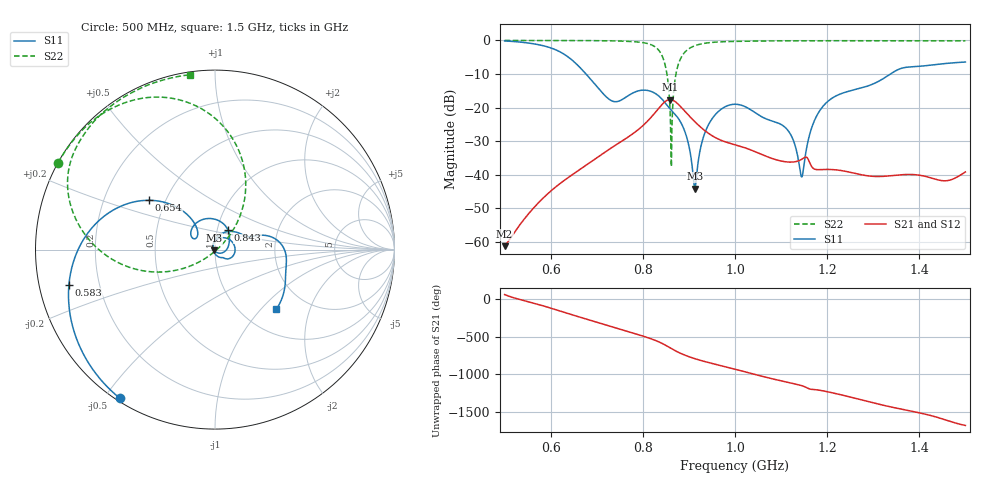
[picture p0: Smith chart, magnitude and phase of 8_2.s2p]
! TOUCHSTONE file generated by CST MICROWAVE STUDIO
! Date and time: Fri Oct  2 16:32:09 2020
! Project name: Scenario_1_Free_Space_out_of_line.cst
! Parameters = {Lambda=346.42; Step_1=17.321; dy1=226.253; dx1=346; L_HA=400; MT=2.54; Rad_Dielectric=30; Rad_Lower=7.3; Rad_Upper=30; a_HA=580; a_WG=246; b_HA=500; b_WG=121; c_HA=0; c_WG=187; d_feed=85; h_feed=15; h_lower=18; h_upper=40}
! Header version: 2018
! Port assignment regex: !\s*Touchstone port\s*([0-9]+)\s*=\s*(CST MWS port|CST DS port)\s*([0-9]+|Zmin|Zmax)\s*\(\"(.*)\"\)(\s*mode\s*([0-9]+))?.*
! Touchstone port assignment:
! Touchstone port 1 = CST MWS port 1 ("")
! Touchstone port 2 = CST MWS port 2 ("")
# GHz S DB R 50
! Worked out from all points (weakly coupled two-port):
!   1003 points, 500 MHz to 1.5 GHz, reference 50 ohm
!   highest |S21| = -17.61 dB at 859 MHz (marker M1); lowest = -61.3 dB at 500 MHz (marker M2)
!   lowest |S11| = -44.1 dB at 913 MHz (marker M3), VSWR 1.01, Z = 49.5 - j0.326 ohm
!   |S11| at or under -10 dB: 676.7 MHz to 1.337 GHz (660.6 MHz wide, 65.6 % of centre)
!   |S22| runs from -37.6 to 0.0 dB; largest |S21 - S12| = 2e-05
!   S11 on the Smith chart (normalised r, x): 500 MHz: 0.01, -0.55; 583 MHz: 0.09, -0.12; 654 MHz: 0.41, +0.28; 843 MHz: 1.13, +0.25; 1.5 GHz: 1.42, -1.22
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0.5  -0.15 -122.6  -61.30 60.8  -61.30 60.8  -0.01 151.1
0.583  -1.55 -166.6  -47.06 -87.8  -47.06 -87.8  -0.02 145.4
0.654  -6.78 143.2  -39.33 138.1  -39.33 138.1  -0.03 139.6
0.667  -8.56 136.0  -38.10 114.5  -38.10 114.5  -0.04 138.4
0.735  -18.13 142.0  -31.70 -8.8  -31.70 -8.8  -0.14 130.2
0.795  -14.88 128.3  -26.01 -120.6  -26.01 -120.6  -0.56 116.1
0.834  -16.49 70.6  -20.30 154.6  -20.30 154.6  -2.84 89.0
0.843  -17.71 55.8  -18.89 128.6  -18.89 128.6  -4.97 76.2
0.852  -19.21 42.3  -17.88 98.9  -17.88 98.9  -9.79 59.5
0.859  -20.37 33.0  -17.61 74.2  -17.61 74.2  -20.73 42.2
0.865  -21.27 24.8  -17.80 53.0  -17.80 53.0  -19.06 -142.0
0.869  -21.86 18.7  -18.11 39.5  -18.11 39.5  -12.56 -151.4
0.879  -23.65 1.1  -19.31 8.6  -19.31 8.6  -6.34 -168.0
0.913  -44.15 -148.0  -24.24 -70.6  -24.24 -70.6  -1.57 163.7
0.943  -24.96 80.8  -27.74 -122.2  -27.74 -122.2  -0.68 152.2
1  -19.01 -0.3  -31.07 150.6  -31.07 150.6  -0.29 140.8
1.111  -26.20 -60.0  -36.17 -19.6  -36.17 -19.6  -0.12 129.0
1.144  -40.58 -156.7  -35.48 -66.9  -35.48 -66.9  -0.11 126.2
1.167  -25.79 91.4  -37.69 -117.8  -37.69 -117.8  -0.10 124.4
1.209  -17.36 48.5  -38.46 -160.0  -38.46 -160.0  -0.09 121.1
1.334  -10.29 14.4  -40.36 15.0  -40.36 15.0  -0.09 111.6
1.5  -6.43 -44.4  -39.19 123.6  -39.20 123.6  -0.14 98.1
